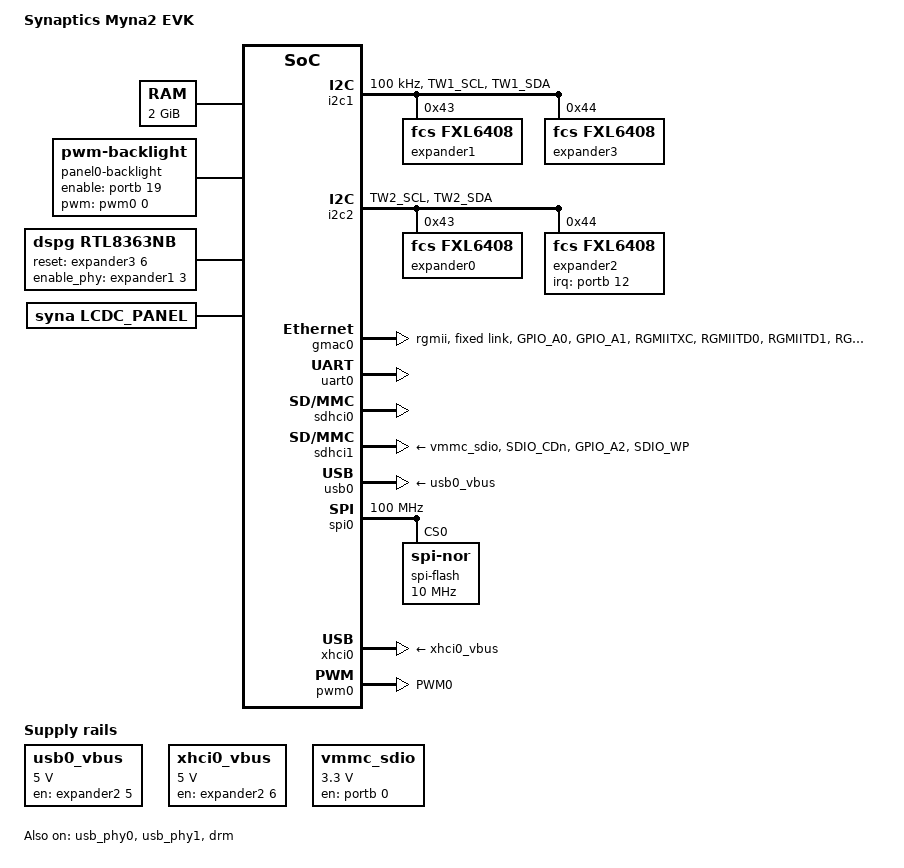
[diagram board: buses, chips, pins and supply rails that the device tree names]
/* SPDX-License-Identifier: GPL-2.0+ */
/*
 * Copyright (C) 2020 Synaptics Incorporated
 *
 * Author: Cheng Lu <Cheng.Lu@synaptics.com>
 *
 */

/dts-v1/;

#include "myna2.dtsi"
#include <dt-bindings/gpio/gpio.h>

/ {
	model = "Synaptics Myna2 EVK";
	compatible = "Synaptics,myna2", "Synaptics,asserial";

	memory {
		device_type = "memory";
		reg = <0 0 0 0x80000000>;
	};

	chosen {
		stdout-path = &uart0;
        };

	panel0-backlight {
                compatible = "pwm-backlight";
                status = "okay";
                pwms = <&pwm0 0 1000000 0>;
                brightness-levels = <0 36 72 108 144 180 212 255>;
                default-brightness-level = <7>;
                enable-gpios = <&portb 19 GPIO_ACTIVE_HIGH>;
        };

	regulators {
		compatible = "simple-bus";
		#address-cells = <1>;
		#size-cells = <0>;

		usb0_vbus: regulator@0 {
			compatible = "regulator-fixed";
			regulator-name = "usb0_vbus";
			regulator-min-microvolt = <5000000>;
			regulator-max-microvolt = <5000000>;
			gpio = <&expander2 5 GPIO_ACTIVE_HIGH>;
			enable-active-high;
		};

		xhci0_vbus: xhci0_vbus {
			compatible = "regulator-fixed";
			regulator-name = "xhci0_vbus";
			regulator-min-microvolt = <5000000>;
			regulator-max-microvolt = <5000000>;
			gpio = <&expander2 6 GPIO_ACTIVE_HIGH>;
			enable-active-high;
		};

		vmmc_sdio: vmmc_sdio {
			compatible = "regulator-fixed";
			regulator-min-microvolt = <3300000>;
			regulator-max-microvolt = <3300000>;
			regulator-name = "vmmc_sdio";
			enable-active-high;
			regulator-boot-on;
			gpio = <&portb 0 GPIO_ACTIVE_HIGH>;
		};

	};

	switch {
		compatible = "simple-bus";
		#address-cells = <1>;
		#size-cells = <0>;

		rtl8363nb {
			compatible = "dspg,rtl8363nb";
			reset_gpio = <&expander3 6 GPIO_ACTIVE_HIGH>;
			enable_phy_gpio = <&expander1 3 GPIO_ACTIVE_HIGH>;
			reg = <29>;
		};
	};
};

&pinctrl {
	emmc_pmux: emmc-pmux {
		groups = "EMMC_RSTn", "EMMC_DATA0", "EMMC_DATA1", "EMMC_DATA2", "EMMC_DATA3", "EMMC_DATA4", "EMMC_DATA5", "EMMC_DATA6", "EMMC_DATA7", "EMMC_CLK", "EMMC_CMD";
        function = "emmc";
        };

	sdio_pmux: sdio-pmux {
		groups = "SDIO_CDn";
		function = "sdio";
	};

	sdio_gpio_pmux: sdio_gpio-pmux {
		/*groups = "SPI2_SS1n";*/
		groups = "GPIO_A2", "SDIO_WP";
		function = "gpio";
	};

	rgmii_pmux: rgmii-pmux {
		groups = "GPIO_A0", "GPIO_A1", "RGMIITXC", "RGMIITD0", "RGMIITD1", "RGMIITD2", "RGMIITD3", "RGMIITXCTL", "RGMIIRXC", "RGMIIRD0", "RGMIIRD1", "RGMIIRD2", "RGMIIRD3", "RGMIIRXCTL", "RGMII_CLK_OUT";
		function = "rgmii";
	};

	i2c1_pmux: i2c1-pmux {
		groups = "TW1_SCL", "TW1_SDA";
		function = "tw1";
		drive-strength = <7>;
	};

	i2c2_pmux: i2c2-pmux {
		groups = "TW2_SCL", "TW2_SDA";
		function = "tw2";
		drive-strength = <7>;
	};

	expander2_pmux: expander2-pmux {
		groups = "PWM2";
		function = "gpio";
	};

	pwm0_pmux: pwm0-pmux {
                groups = "PWM0";
                function = "gpio";
        };

	lcdc_pmux: lcdc-pmux {
		groups = "LCDD0", "LCDD1", "LCDD2", "LCDD3", "LCDD4", "LCDD5", "LCDD6", "LCDD7",
				 "LCDD8", "LCDD9", "LCDD10", "LCDD11", "LCDD12", "LCDD13", "LCDD14", "LCDD15",
				 "LCDD16", "LCDD17", "LCDD18", "LCDD19", "LCDD20", "LCDD21", "LCDD22", "LCDD23";
		function = "lcd";
	};

	lcdc_pmux1: lcdc-pmux1 {
		groups = "LPCLK";
		function = "lpclk";
	};

	lcdc_gpio_pmux: lcdc-gpio-pmux {
		groups = "LCDGPIO0", "LCDGPIO1", "LCDGPIO2";
		function = "lcdgpio";
	};

	lcdc_bl_gpio_pmux: lcdc-bl-gpio-pmux {
                groups = "USB2_DRV_VBUS";
                function = "gpio";
        };
};

&i2c1 {
	status = "okay";
	pinctrl-0 = <&i2c1_pmux>;
	pinctrl-names = "default";
	clock-frequency = <100000>;

	expander1: gpio@43 {
		compatible = "fcs,fxl6408";
		reg = <0x43>;
		gpio-controller;
		#gpio-cells = <2>;
	};

	expander3: gpio@44 {
		compatible = "fcs,fxl6408";
		reg = <0x44>;
		gpio-controller;
		#gpio-cells = <2>;
	};
};

&i2c2 {
	status = "okay";
	pinctrl-names = "default";
	pinctrl-0 = <&i2c2_pmux>;

	expander0: gpio@43 {
		compatible = "fcs,fxl6408";
		reg = <0x43>;
		gpio-controller;
		#gpio-cells = <2>;
	};

	expander2: gpio@44 {
		compatible = "fcs,fxl6408";
		pinctrl-0 = <&expander2_pmux>;
		pinctrl-names = "default";
		reg = <0x44>;
		gpio-controller;
		#gpio-cells = <2>;
		interrupt-parent = <&portb>;
		interrupts = <12 IRQ_TYPE_NONE>;
		interrupt-controller;
		#interrupt-cells = <2>;
		#address-cells = <0>;
	};
};

&phy0 {
	reg = <0>;
};

&gmac0 {
	status = "okay";
	max-speed = <1000>;
	phy-mode = "rgmii";
	pinctrl-names = "default";
	pinctrl-0 = <&rgmii_pmux>;
	fixed-link {
		speed = <1000>;
		full-duplex;
	};
};

&CPU_SLEEP_0 {
	status = "disabled";
};

&uart0 {
	status = "okay";
};

&sdhci0 {
        status = "okay";
};

&sdhci1 {
	status = "okay";
	no-1-8-v;
	vmmc-supply = <&vmmc_sdio>;
	pinctrl-0 = <&sdio_pmux>, <&sdio_gpio_pmux>;
	pinctrl-names = "default";
};

&usb_phy0 {
	status = "okay";
};

&usb0 {
	vbus-supply = <&usb0_vbus>;
	status = "okay";
};

&spi0 {
	status = "okay";
	max-write-size = <128>;
	clock-frequency = <100000000>;
	spi-flash@0 {
		#address-cells = <1>;
		#size-cells = <1>;
		compatible = "jedec,spi-nor";
		reg = <0>;
		memory-map = <0x0 0xf0000000 0x0 0x4000000>;
		spi-max-frequency = <10000000>;
        };
};

&xhci0 {
	vbus-supply = <&xhci0_vbus>;
	status = "okay";
};

&usb_phy1  {
	status = "okay";
};

&pwm0 {
        status = "okay";
        pinctrl-0 = <&pwm0_pmux>;
        pinctrl-names = "default";
};

&drm {
	status = "okay";
	irqno = <62>;
	pinctrl-0 = <&lcdc_pmux>, <&lcdc_pmux1>, <&lcdc_gpio_pmux>, <&lcdc_bl_gpio_pmux>;
	pinctrl-names ="default", "default", "default", "default";
	disp-mode = <2>;
	disp1-bits_per_pixel = <24>;
	disp1-busformat = <0>;
	disp2-bits_per_pixel = <24>;
	disp2-busformat = <0>;

	lcdc_panel {
                status= "okay";
                compatible = "syna,lcdc_panel";
                hact = <800>;
                hfp = <210>;
                hsa = <2>;
                hbp = <46>;
                vact = <480>;
                vfp = <22>;
                vsa = <2>;
                vbp = <23>;
                pixclockKhz = <33300>;
                rgbswap = <1>;
        };

	dsi_panel {
		status= "okay";

		mipirst-gpio = <&expander1 7 GPIO_ACTIVE_LOW>;
		ACTIVE_WIDTH = <800>;
		HFP = <60>;
		HSYNCWIDTH = <32>;
		HBP = <60>;
		ACTIVE_HEIGHT = <1280>;
		VFP = <16>;
		VSYNCWIDTH = <2>;
		VBP = <14>;
		FREQ = <75000>;

		HTOTAL = <952>;
		Lanes = <4>;
		Vid_mode = <2>;
		virtual_chan = <0>;
		Clk_Lane_Polarity = <0>;
		Data_Lane_Polarity = <0>;
		Recv_ack = <0>;
		Loosely_18 = <0>;
		H_polarity = <1>;
		V_Polarity = <1>;
		Data_Polarity = <1>;
		Eotp_tx = <1>;
		Eotp_rx = <0>;
		non-Continuous_clk = <1>;
		dpi_lp_cmd = <1>;
		Color_coding = <5>;
		Chunks = <0>;
		Null_Pkt = <0>;
		Byte_clk = <56250>;
	};
};
